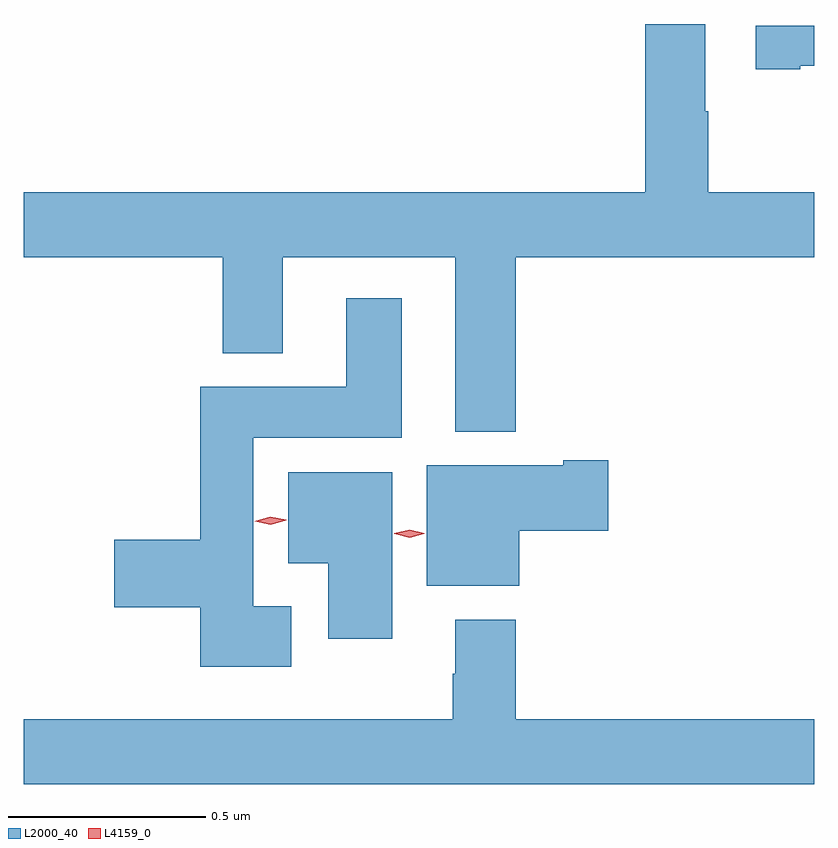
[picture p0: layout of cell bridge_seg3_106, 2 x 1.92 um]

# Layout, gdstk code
import gdstk
lib = gdstk.Library(unit=1e-6, precision=1e-09)
def P(c, l, *ps):  # polygons
    for p in ps: c.add(gdstk.Polygon(p, *l))
L2000_40 = (2000, 40)
L4159_0 = (4159, 0)

bridge_seg3_106 = lib.new_cell('bridge_seg3_106')
P(bridge_seg3_106, L2000_40, [(278.702,740.876),(279.457,740.876),(279.457,741.04),(279.189,741.04),(279.189,741.245),(279.181,741.245),(279.181,741.466),(279.029,741.466),(279.029,741.04),(277.457,741.04),(277.457,740.876),(277.961,740.876),(277.961,740.633),(278.113,740.633),(278.113,740.876),(278.549,740.876),(278.549,740.435),(278.702,740.435)],
  [(279.421,741.361),(279.457,741.361),(279.457,741.461),(279.309,741.461),(279.309,741.351),(279.421,741.351)],
  [(278.134,739.993),(278.038,739.993),(278.038,740.42),(278.413,740.42),(278.413,740.773),(278.273,740.773),(278.273,740.548),(277.904,740.548),(277.904,740.162),(277.686,740.162),(277.686,739.991),(277.904,739.991),(277.904,739.841),(278.134,739.841)],
  [(278.71,740.185),(278.935,740.185),(278.935,740.363),(278.822,740.363),(278.822,740.35),(278.477,740.35),(278.477,740.045),(278.71,740.045)],
  [(278.389,740.332),(278.126,740.332),(278.126,740.102),(278.228,740.102),(278.228,739.911),(278.389,739.911)],
  [(279.457,739.708),(278.702,739.708),(278.702,739.96),(278.549,739.96),(278.549,739.823),(278.542,739.823),(278.542,739.708),(277.457,739.708),(277.457,739.544),(279.457,739.544)])
P(bridge_seg3_106, L4159_0, [(278.082,740.2),(278.042,740.209),(278.042,740.209),(278.042,740.209),(278.081,740.22),(278.121,740.212),(278.121,740.211),(278.121,740.211)],
  [(278.433,740.167),(278.395,740.177),(278.395,740.177),(278.395,740.178),(278.433,740.187),(278.47,740.178),(278.47,740.177),(278.47,740.177)])

lib.write_gds('bridge_seg3_106.gds')
